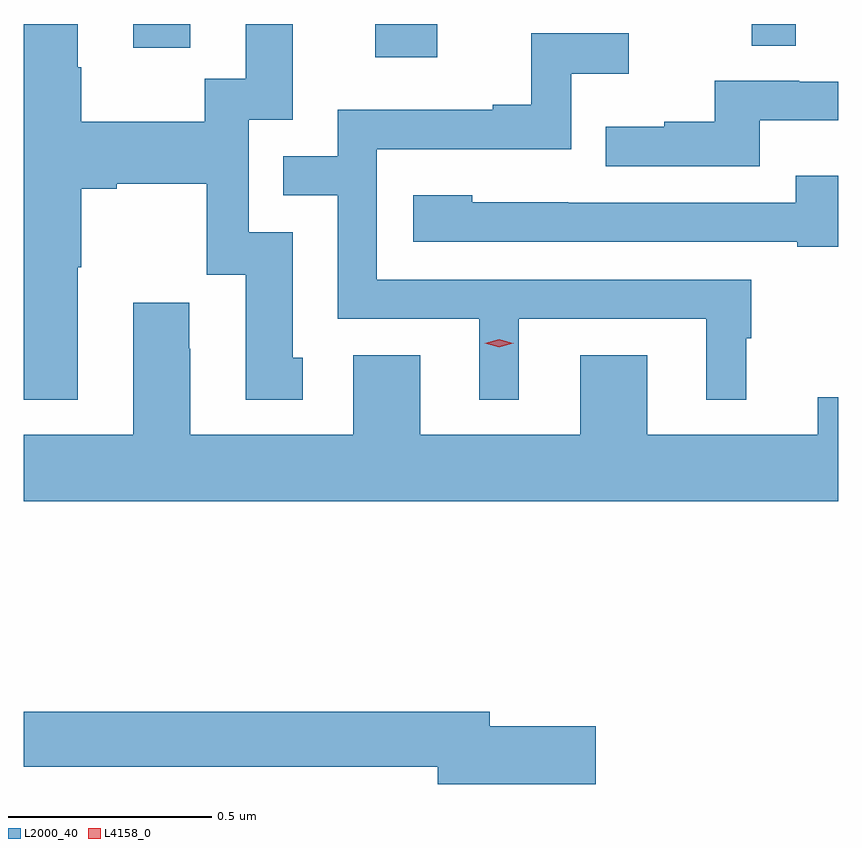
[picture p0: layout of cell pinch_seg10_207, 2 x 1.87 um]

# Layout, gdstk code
import gdstk
lib = gdstk.Library(unit=1e-6, precision=1e-09)
def R(c, l, rs):  # rectangles x0, y0, x1, y1
    for r in rs: c.add(gdstk.rectangle(r[:2], r[2:], *l))
def P(c, l, *ps):  # polygons
    for p in ps: c.add(gdstk.Polygon(p, *l))
L2000_40 = (2000, 40)
L4158_0 = (4158, 0)

pinch_seg10_207 = lib.new_cell('pinch_seg10_207')
R(pinch_seg10_207, L2000_40, [(793.229,1256.118,793.381,1256.2), (792.635,1256.142,792.775,1256.2), (794.154,1256.146,794.262,1256.2)])
P(pinch_seg10_207, L2000_40, [(792.499,1255.603),(792.507,1255.603),(792.507,1255.796),(792.595,1255.796),(792.595,1255.808),(792.815,1255.808),(792.815,1255.584),(792.911,1255.584),(792.911,1255.278),(793.051,1255.278),(793.051,1255.38),(793.027,1255.38),(793.027,1255.689),(792.918,1255.689),(792.918,1255.965),(793.027,1255.965),(793.027,1256.2),(792.911,1256.2),(792.911,1256.066),(792.81,1256.066),(792.81,1255.96),(792.507,1255.96),(792.507,1256.094),(792.499,1256.094),(792.499,1256.2),(792.366,1256.2),(792.366,1255.277),(792.499,1255.277)],
  [(793.582,1255.476),(794.042,1255.476),(794.042,1255.277),(794.14,1255.277),(794.14,1255.428),(794.152,1255.428),(794.152,1255.572),(793.233,1255.572),(793.233,1255.893),(793.71,1255.893),(793.71,1256.078),(793.852,1256.078),(793.852,1256.177),(793.612,1256.177),(793.612,1256.002),(793.517,1256.002),(793.517,1255.989),(793.137,1255.989),(793.137,1255.875),(793.003,1255.875),(793.003,1255.779),(793.137,1255.779),(793.137,1255.476),(793.484,1255.476),(793.484,1255.277),(793.582,1255.277)],
  [(794.173,1255.964),(794.366,1255.964),(794.366,1256.058),(794.27,1256.058),(794.27,1256.061),(794.063,1256.061),(794.063,1255.96),(793.939,1255.96),(793.939,1255.948),(793.795,1255.948),(793.795,1255.851),(794.173,1255.851)],
  [(794.366,1255.828),(794.261,1255.828),(794.261,1255.761),(793.703,1255.761),(793.703,1255.762),(793.467,1255.762),(793.467,1255.78),(793.323,1255.78),(793.323,1255.665),(794.265,1255.665),(794.265,1255.653),(794.366,1255.653)],
  [(794.366,1255.283),(794.315,1255.283),(794.315,1255.192),(793.897,1255.192),(793.897,1255.387),(793.733,1255.387),(793.733,1255.192),(793.339,1255.192),(793.339,1255.387),(793.175,1255.387),(793.175,1255.192),(792.775,1255.192),(792.775,1255.403),(792.772,1255.403),(792.772,1255.516),(792.635,1255.516),(792.635,1255.192),(792.366,1255.192),(792.366,1255.028),(794.366,1255.028)],
  [(793.771,1254.476),(793.51,1254.476),(793.51,1254.512),(792.366,1254.512),(792.366,1254.376),(793.382,1254.376),(793.382,1254.334),(793.771,1254.334)])
P(pinch_seg10_207, L4158_0, [(793.533,1255.406),(793.498,1255.416),(793.497,1255.416),(793.498,1255.416),(793.533,1255.426),(793.568,1255.416),(793.569,1255.416),(793.568,1255.416)])

lib.write_gds('pinch_seg10_207.gds')
